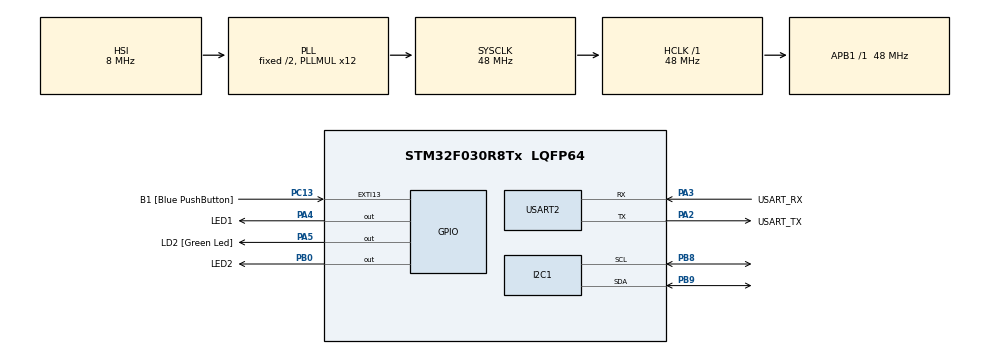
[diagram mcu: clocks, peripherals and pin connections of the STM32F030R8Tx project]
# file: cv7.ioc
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FREERTOS.Queues01=xVisualQueue,16,uint16_t,0,Dynamic,NULL,NULL
FREERTOS.Tasks01=defaultTask,0,128,StartDefaultTask,Default,NULL,Dynamic,NULL,NULL;VisualTask,0,128,StartVisualTask,Default,NULL,Dynamic,NULL,NULL;AcceleroTask,0,128,StartAcceleroTask,Default,NULL,Dynamic,NULL,NULL
FREERTOS.configUSE_NEWLIB_REENTRANT=1
I2C1.Timing=0x00201D2B
Mcu.Family=STM32F0
Mcu.Name=STM32F030R8Tx
Mcu.Package=LQFP64
NVIC.TIM14_IRQn=true\:3\:0\:false\:false\:true\:false\:false\:true\:true
NVIC.TimeBase=TIM14_IRQn
NVIC.TimeBaseIP=TIM14
PA13.GPIO_Label=TMS
PA13.Mode=Serial_Wire
PA13.Signal=SYS_SWDIO
PA14.GPIO_Label=TCK
PA14.Mode=Serial_Wire
PA14.Signal=SYS_SWCLK
PA2.GPIO_Label=USART_TX
PA2.GPIO_Mode=GPIO_MODE_AF_PP
PA2.GPIO_PuPd=GPIO_NOPULL
PA2.GPIO_Speed=GPIO_SPEED_FREQ_LOW
PA2.Mode=Asynchronous
PA2.Signal=USART2_TX
PA3.GPIO_Label=USART_RX
PA3.GPIO_Mode=GPIO_MODE_AF_PP
PA3.GPIO_PuPd=GPIO_NOPULL
PA3.GPIO_Speed=GPIO_SPEED_FREQ_LOW
PA3.Mode=Asynchronous
PA3.Signal=USART2_RX
PA4.GPIO_Label=LED1
PA4.Signal=GPIO_Output
PA5.GPIO_Label=LD2 [Green Led]
PA5.GPIO_Mode=GPIO_MODE_OUTPUT_PP
PA5.GPIO_PuPd=GPIO_NOPULL
PA5.GPIO_Speed=GPIO_SPEED_FREQ_LOW
PA5.Signal=GPIO_Output
PB0.GPIO_Label=LED2
PB0.Signal=GPIO_Output
PB8.Mode=I2C
PB8.Signal=I2C1_SCL
PB9.Mode=I2C
PB9.Signal=I2C1_SDA
PC13.GPIO_Label=B1 [Blue PushButton]
PC13.GPIO_ModeDefaultEXTI=GPIO_MODE_IT_FALLING
PC13.Signal=GPXTI13
PC14-OSC32_IN.Mode=LSE-External-Oscillator
PC14-OSC32_IN.Signal=RCC_OSC32_IN
PC15-OSC32_OUT.Mode=LSE-External-Oscillator
PC15-OSC32_OUT.Signal=RCC_OSC32_OUT
PF0-OSC_IN.Mode=HSE-External-Clock-Source
PF0-OSC_IN.Signal=RCC_OSC_IN
PF1-OSC_OUT.Signal=RCC_OSC_OUT
ProjectManager.HeapSize=0x200
ProjectManager.StackSize=0x400
ProjectManager.TargetToolchain=STM32CubeIDE
RCC.AHBFreq_Value=48000000
RCC.APB1Freq_Value=48000000
RCC.APB1TimFreq_Value=48000000
RCC.HCLKFreq_Value=48000000
RCC.PLLMUL=RCC_PLL_MUL12
RCC.SYSCLKFreq_VALUE=48000000
RCC.SYSCLKSource=RCC_SYSCLKSOURCE_PLLCLK
USART2.VirtualMode-Asynchronous=VM_ASYNC
VP_FREERTOS_VS_CMSIS_V1.Mode=CMSIS_V1
VP_SYS_VS_tim14.Mode=TIM14
board=NUCLEO-F030R8

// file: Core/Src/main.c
/* USER CODE BEGIN Header */
/**
  ******************************************************************************
  * @file           : main.c
  * @brief          : Main program body
  ******************************************************************************
  * @attention
  *
  * Copyright (c) 2024 STMicroelectronics.
  * All rights reserved.
  *
  * This software is licensed under terms that can be found in the LICENSE file
  * in the root directory of this software component.
  * If no LICENSE file comes with this software, it is provided AS-IS.
  *
  ******************************************************************************
  */
/* USER CODE END Header */
#include "main.h"
#include "cmsis_os.h"

/* USER CODE BEGIN Includes */
#include "lis2dw12_reg.h"
#include <stdio.h>
/* USER CODE END Includes */

/* USER CODE BEGIN PD */
#define DELAY_TIME 50
/* USER CODE END PD */

I2C_HandleTypeDef hi2c1;

UART_HandleTypeDef huart2;

osThreadId defaultTaskHandle;
osThreadId VisualTaskHandle;
osThreadId AcceleroTaskHandle;
osMessageQId xVisualQueueHandle;
/* USER CODE BEGIN PV */
static int32_t platform_write(void *handle, uint8_t reg, const uint8_t *bufp, uint16_t len); //zde const, dodelej
static int32_t platform_read(void *handle, uint8_t reg, uint8_t *bufp, uint16_t len);
static stmdev_ctx_t lis2dw12 = {
	.write_reg = platform_write,
	.read_reg = platform_read,
	.handle = &hi2c1,
};
/* USER CODE END PV */

void SystemClock_Config(void);
static void MX_GPIO_Init(void);
static void MX_USART2_UART_Init(void);
static void MX_I2C1_Init(void);
void StartDefaultTask(void const * argument);
void StartVisualTask(void const * argument);
void StartAcceleroTask(void const * argument);

/* USER CODE BEGIN 0 */
static int32_t platform_write(void *handle, uint8_t reg, const uint8_t *bufp, uint16_t len)
{
	HAL_I2C_Mem_Write(handle, LIS2DW12_I2C_ADD_H, reg, I2C_MEMADD_SIZE_8BIT,(uint8_t*)bufp, len, 1000);
	return 0;
}
static int32_t platform_read(void *handle, uint8_t reg, uint8_t *bufp, uint16_t len)
{
	HAL_I2C_Mem_Read(handle, LIS2DW12_I2C_ADD_H, reg, I2C_MEMADD_SIZE_8BIT, bufp, len, 1000);
	return 0;
}
int _write(int file, char const *buf, int n)
{
	/* stdout redirection to UART2 */
	HAL_UART_Transmit(&huart2, (uint8_t*)(buf), n, HAL_MAX_DELAY);
	return n;
}
/* USER CODE END 0 */

int main(void)
{

  /* MCU Configuration--------------------------------------------------------*/

  /* Reset of all peripherals, Initializes the Flash interface and the Systick. */
  HAL_Init();

  /* Configure the system clock */
  SystemClock_Config();

  /* Initialize all configured peripherals */
  MX_GPIO_Init();
  MX_USART2_UART_Init();
  MX_I2C1_Init();

  /* Create the queue(s) */
  /* definition and creation of xVisualQueue */
  osMessageQDef(xVisualQueue, 16, uint16_t);
  xVisualQueueHandle = osMessageCreate(osMessageQ(xVisualQueue), NULL);

  /* Create the thread(s) */
  /* definition and creation of defaultTask */
  osThreadDef(defaultTask, StartDefaultTask, osPriorityNormal, 0, 128);
  defaultTaskHandle = osThreadCreate(osThread(defaultTask), NULL);

  /* definition and creation of VisualTask */
  osThreadDef(VisualTask, StartVisualTask, osPriorityNormal, 0, 128);
  VisualTaskHandle = osThreadCreate(osThread(VisualTask), NULL);

  /* definition and creation of AcceleroTask */
  osThreadDef(AcceleroTask, StartAcceleroTask, osPriorityNormal, 0, 128);
  AcceleroTaskHandle = osThreadCreate(osThread(AcceleroTask), NULL);

  /* Start scheduler */
  osKernelStart();

  /* We should never get here as control is now taken by the scheduler */

  /* Infinite loop */
  while (1)
  {

  }
}

void SystemClock_Config(void)
{
  RCC_OscInitTypeDef RCC_OscInitStruct = {0};
  RCC_ClkInitTypeDef RCC_ClkInitStruct = {0};
  RCC_PeriphCLKInitTypeDef PeriphClkInit = {0};

  /** Initializes the RCC Oscillators according to the specified parameters
  * in the RCC_OscInitTypeDef structure.
  */
  RCC_OscInitStruct.OscillatorType = RCC_OSCILLATORTYPE_HSI;
  RCC_OscInitStruct.HSIState = RCC_HSI_ON;
  RCC_OscInitStruct.HSICalibrationValue = RCC_HSICALIBRATION_DEFAULT;
  RCC_OscInitStruct.PLL.PLLState = RCC_PLL_ON;
  RCC_OscInitStruct.PLL.PLLSource = RCC_PLLSOURCE_HSI;
  RCC_OscInitStruct.PLL.PLLMUL = RCC_PLL_MUL12;
  RCC_OscInitStruct.PLL.PREDIV = RCC_PREDIV_DIV1;
  if (HAL_RCC_OscConfig(&RCC_OscInitStruct) != HAL_OK)
  {
    Error_Handler();
  }

  /** Initializes the CPU, AHB and APB buses clocks
  */
  RCC_ClkInitStruct.ClockType = RCC_CLOCKTYPE_HCLK|RCC_CLOCKTYPE_SYSCLK
                              |RCC_CLOCKTYPE_PCLK1;
  RCC_ClkInitStruct.SYSCLKSource = RCC_SYSCLKSOURCE_PLLCLK;
  RCC_ClkInitStruct.AHBCLKDivider = RCC_SYSCLK_DIV1;
  RCC_ClkInitStruct.APB1CLKDivider = RCC_HCLK_DIV1;

  if (HAL_RCC_ClockConfig(&RCC_ClkInitStruct, FLASH_LATENCY_1) != HAL_OK)
  {
    Error_Handler();
  }
  PeriphClkInit.PeriphClockSelection = RCC_PERIPHCLK_I2C1;
  PeriphClkInit.I2c1ClockSelection = RCC_I2C1CLKSOURCE_HSI;
  if (HAL_RCCEx_PeriphCLKConfig(&PeriphClkInit) != HAL_OK)
  {
    Error_Handler();
  }
}

static void MX_I2C1_Init(void)
{

  hi2c1.Instance = I2C1;
  hi2c1.Init.Timing = 0x00201D2B;
  hi2c1.Init.OwnAddress1 = 0;
  hi2c1.Init.AddressingMode = I2C_ADDRESSINGMODE_7BIT;
  hi2c1.Init.DualAddressMode = I2C_DUALADDRESS_DISABLE;
  hi2c1.Init.OwnAddress2 = 0;
  hi2c1.Init.OwnAddress2Masks = I2C_OA2_NOMASK;
  hi2c1.Init.GeneralCallMode = I2C_GENERALCALL_DISABLE;
  hi2c1.Init.NoStretchMode = I2C_NOSTRETCH_DISABLE;
  if (HAL_I2C_Init(&hi2c1) != HAL_OK)
  {
    Error_Handler();
  }

  /** Configure Analogue filter
  */
  if (HAL_I2CEx_ConfigAnalogFilter(&hi2c1, I2C_ANALOGFILTER_ENABLE) != HAL_OK)
  {
    Error_Handler();
  }

  /** Configure Digital filter
  */
  if (HAL_I2CEx_ConfigDigitalFilter(&hi2c1, 0) != HAL_OK)
  {
    Error_Handler();
  }

}

static void MX_USART2_UART_Init(void)
{

  huart2.Instance = USART2;
  huart2.Init.BaudRate = 38400;
  huart2.Init.WordLength = UART_WORDLENGTH_8B;
  huart2.Init.StopBits = UART_STOPBITS_1;
  huart2.Init.Parity = UART_PARITY_NONE;
  huart2.Init.Mode = UART_MODE_TX_RX;
  huart2.Init.HwFlowCtl = UART_HWCONTROL_NONE;
  huart2.Init.OverSampling = UART_OVERSAMPLING_16;
  huart2.Init.OneBitSampling = UART_ONE_BIT_SAMPLE_DISABLE;
  huart2.AdvancedInit.AdvFeatureInit = UART_ADVFEATURE_NO_INIT;
  if (HAL_UART_Init(&huart2) != HAL_OK)
  {
    Error_Handler();
  }

}

static void MX_GPIO_Init(void)
{
  GPIO_InitTypeDef GPIO_InitStruct = {0};

  /* GPIO Ports Clock Enable */
  __HAL_RCC_GPIOC_CLK_ENABLE();
  __HAL_RCC_GPIOF_CLK_ENABLE();
  __HAL_RCC_GPIOA_CLK_ENABLE();
  __HAL_RCC_GPIOB_CLK_ENABLE();

  /*Configure GPIO pin Output Level */
  HAL_GPIO_WritePin(GPIOA, LED1_Pin|LD2_Pin, GPIO_PIN_RESET);

  /*Configure GPIO pin Output Level */
  HAL_GPIO_WritePin(LED2_GPIO_Port, LED2_Pin, GPIO_PIN_RESET);

  /*Configure GPIO pin : B1_Pin */
  GPIO_InitStruct.Pin = B1_Pin;
  GPIO_InitStruct.Mode = GPIO_MODE_IT_FALLING;
  GPIO_InitStruct.Pull = GPIO_NOPULL;
  HAL_GPIO_Init(B1_GPIO_Port, &GPIO_InitStruct);

  /*Configure GPIO pins : LED1_Pin LD2_Pin */
  GPIO_InitStruct.Pin = LED1_Pin|LD2_Pin;
  GPIO_InitStruct.Mode = GPIO_MODE_OUTPUT_PP;
  GPIO_InitStruct.Pull = GPIO_NOPULL;
  GPIO_InitStruct.Speed = GPIO_SPEED_FREQ_LOW;
  HAL_GPIO_Init(GPIOA, &GPIO_InitStruct);

  /*Configure GPIO pin : LED2_Pin */
  GPIO_InitStruct.Pin = LED2_Pin;
  GPIO_InitStruct.Mode = GPIO_MODE_OUTPUT_PP;
  GPIO_InitStruct.Pull = GPIO_NOPULL;
  GPIO_InitStruct.Speed = GPIO_SPEED_FREQ_LOW;
  HAL_GPIO_Init(LED2_GPIO_Port, &GPIO_InitStruct);

}

void StartDefaultTask(void const * argument)
{
  for(;;)
  {
    osDelay(1);
  }
}

void StartVisualTask(void const * argument)
{
  /* USER CODE BEGIN StartVisualTask */
  /* Infinite loop */
  int16_t msg;

  for(;;)
  {
	  if (xQueueReceive(xVisualQueueHandle, &msg, portMAX_DELAY))
	  {
		if(msg<=-1000)
		{
			HAL_GPIO_WritePin(LED1_GPIO_Port, LED1_Pin, GPIO_PIN_SET);
		}
		else
		{
			HAL_GPIO_WritePin(LED1_GPIO_Port, LED1_Pin, GPIO_PIN_RESET);
		}
		if(msg >= 1000)
		{
			HAL_GPIO_WritePin(LED2_GPIO_Port, LED2_Pin, GPIO_PIN_SET);
		}
		else
		{
			HAL_GPIO_WritePin(LED2_GPIO_Port, LED2_Pin, GPIO_PIN_RESET);
		}
	  }

    osDelay(1);
  }
  /* USER CODE END StartVisualTask */
}

void StartAcceleroTask(void const * argument)
{
  /* USER CODE BEGIN StartAcceleroTask */
  /* Infinite loop */
  //int16_t msg; //zustava zde
  //uint8_t i=0;
  uint8_t samples;
  int16_t raw_acceleration[3];
  int8_t delay=0;

  // Check device ID - only shows during the initialization of the Task
  uint8_t whoamI = 0;
  lis2dw12_device_id_get(&lis2dw12, &whoamI);
  printf("LIS2DW12_ID %s\n", (whoamI == LIS2DW12_ID) ? "OK" : "FAIL");

  //init LIS2DW12 - asi by mohlo být i v main
  lis2dw12_full_scale_set(&lis2dw12, LIS2DW12_2g);
  lis2dw12_power_mode_set(&lis2dw12, LIS2DW12_CONT_LOW_PWR_LOW_NOISE_2);
  lis2dw12_block_data_update_set(&lis2dw12, PROPERTY_ENABLE);
  lis2dw12_fifo_mode_set(&lis2dw12, LIS2DW12_STREAM_MODE); // enable continuous FIFO
  lis2dw12_data_rate_set(&lis2dw12, LIS2DW12_XL_ODR_25Hz); // enable part from power-down

  for(;;)
  {

/*
	if(i==0)
    {
		msg=-5000;
    }
	else if (i==1)
	{
		msg=0;
	}
	else if (i==2)
	{
		msg=5000;
	}
	else if (i==3)
	{
		msg=0;
	}
	i++;
	if(i==4)
		i = 0;
	xQueueSend(xVisualQueueHandle, &msg, 0);
	vTaskDelay(300);*/
	  //read
	  lis2dw12_fifo_data_level_get(&lis2dw12, &samples);
	  for (uint8_t i = 0; i < samples; i++)
	  {
		  // Read acceleration data
		  lis2dw12_acceleration_raw_get(&lis2dw12, raw_acceleration);
		  if(delay==19)
		  {
			  printf("X=%d Y=%d Z=%d\n", raw_acceleration[0], raw_acceleration[1], raw_acceleration[2]);
		  }
	  }
	  xQueueSend(xVisualQueueHandle, &raw_acceleration[0], 0);
	  vTaskDelay(DELAY_TIME);
	  delay++;
	  if(delay==20) //delay = 20*DELAY_TIME
	  {
		  delay=0;
	  }
      osDelay(1);
  }
  /* USER CODE END StartAcceleroTask */
}

void HAL_TIM_PeriodElapsedCallback(TIM_HandleTypeDef *htim)
{
  if (htim->Instance == TIM14) {
    HAL_IncTick();
  }
}

void Error_Handler(void)
{
  __disable_irq();
  while (1)
  {
  }
}
